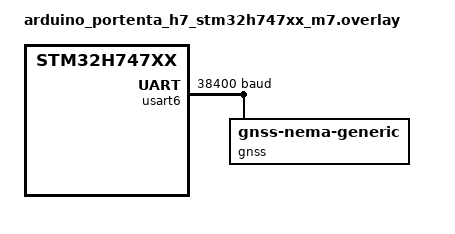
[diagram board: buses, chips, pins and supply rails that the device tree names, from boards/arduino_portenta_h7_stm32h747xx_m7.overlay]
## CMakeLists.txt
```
# Copyright (c) 2023 Trackunit Corporation
# SPDX-License-Identifier: Apache-2.0

cmake_minimum_required(VERSION 3.20.0)
find_package(Zephyr REQUIRED HINTS $ENV{ZEPHYR_BASE})
project(gnss_sample)

target_sources(app PRIVATE src/main.c)
```

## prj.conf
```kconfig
# Copyright (c) 2023 Trackunit Corporation
# SPDX-License-Identifier: Apache-2.0

CONFIG_GNSS=y
CONFIG_GNSS_SATELLITES=y

CONFIG_LOG=y
CONFIG_LOG_BUFFER_SIZE=8192
CONFIG_GNSS_DUMP_TO_LOG=y
CONFIG_GNSS_DUMP_TO_LOG_BUF_SIZE=1024
CONFIG_GNSS_LOG_LEVEL_DBG=y
CONFIG_MODEM_MODULES_LOG_LEVEL_DBG=y
```

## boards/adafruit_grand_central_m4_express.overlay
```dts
/ {
	aliases {
		gnss = &gnssdev;
	};
};

&sercom0 {
	status = "okay";
	current-speed = <115200>;

	gnssdev: gnss-nmea-generic {
    	compatible = "gnss-nmea-generic";
  	};
};
```

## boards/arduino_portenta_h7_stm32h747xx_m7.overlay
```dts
{
    aliases {
        gnss = &gnss;
    };
};

&usart6 {
    status = "okay";
    current-speed = <38400>;
    gnss: gnss-nema-generic {
        compatible = "gnss-nema-generic";
    };
};
```

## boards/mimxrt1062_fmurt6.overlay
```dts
/*
 * Copyright 2024 NXP
 *
 * SPDX-License-Identifier: Apache-2.0
 */

/ {
	aliases {
		gnss = &gnss;
	};
};

&lpuart2 {
	status = "okay";
	current-speed = <115200>;
	pinctrl-0 = <&pinmux_lpuart2>;
	pinctrl-1 = <&pinmux_lpuart2_sleep>;
	pinctrl-names = "default", "sleep";

	gnss: u_blox_m10 {
		status = "okay";
		compatible = "u-blox,m8";
		uart-baudrate = <115200>;
	};
};
```

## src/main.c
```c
#include <zephyr/device.h>
#include <zephyr/drivers/gnss.h>
#include <zephyr/kernel.h>

#include <zephyr/logging/log.h>
LOG_MODULE_REGISTER(zephyr_gnss_sample, LOG_LEVEL_DBG);

static void gnss_data_cb(const struct device *dev, const struct gnss_data *data)
{
	
	if (data->info.fix_status != GNSS_FIX_STATUS_NO_FIX) {
		LOG_INF("date: %02d:%02d:%02d:%03d %02d-%02d-%04d", 
				data->utc.hour, data->utc.minute, data->utc.millisecond/1000, data->utc.millisecond%1000, 
				data->utc.month_day, data->utc.month, data->utc.century_year + 2000);
		LOG_INF("%s location (%lld, %lld) with %d tracked satellites", 
				dev->name, data->nav_data.latitude, data->nav_data.longitude, data->info.satellites_cnt);
	} else {
		LOG_INF("no fix. Searching sattelites...");
	}
}

GNSS_DATA_CALLBACK_DEFINE(DEVICE_DT_GET(DT_ALIAS(gnss)), gnss_data_cb);

#if CONFIG_GNSS_SATELLITES
static void gnss_satellites_cb(const struct device *dev, const struct gnss_satellite *satellites,
			       uint16_t size)
{
	LOG_INF("%s reported %u satellites!", dev->name, size);
}
#endif

GNSS_SATELLITES_CALLBACK_DEFINE(DEVICE_DT_GET(DT_ALIAS(gnss)), gnss_satellites_cb);

int main(void)
{
	return 0;
}
```
